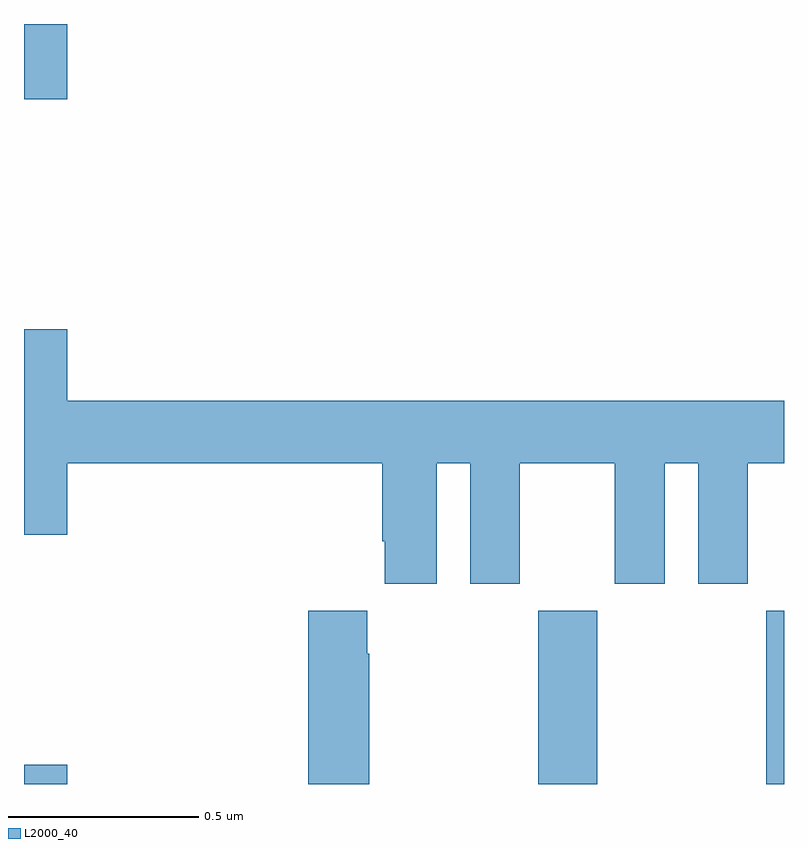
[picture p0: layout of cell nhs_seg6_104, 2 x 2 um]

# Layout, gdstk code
import gdstk
lib = gdstk.Library(unit=1e-6, precision=1e-09)
def R(c, l, rs):  # rectangles x0, y0, x1, y1
    for r in rs: c.add(gdstk.rectangle(r[:2], r[2:], *l))
def P(c, l, *ps):  # polygons
    for p in ps: c.add(gdstk.Polygon(p, *l))
L2000_40 = (2000, 40)

nhs_seg6_104 = lib.new_cell('nhs_seg6_104')
R(nhs_seg6_104, L2000_40, [(112,938.5,112.114,938.551), (113.353,938.5,113.508,938.956), (113.953,938.5,114,938.956), (112,940.302,112.114,940.5)])
P(nhs_seg6_104, L2000_40, [(113.086,939.344),(113.174,939.344),(113.174,939.027),(113.305,939.027),(113.305,939.344),(113.555,939.344),(113.555,939.027),(113.686,939.027),(113.686,939.344),(113.774,939.344),(113.774,939.027),(113.905,939.027),(113.905,939.344),(114,939.344),(114,939.508),(112.114,939.508),(112.114,939.697),(112,939.697),(112,939.156),(112.114,939.156),(112.114,939.344),(112.943,939.344),(112.943,939.139),(112.949,939.139),(112.949,939.027),(113.086,939.027)],
  [(112.908,938.843),(112.903,938.843),(112.903,938.956),(112.748,938.956),(112.748,938.5),(112.908,938.5)])

lib.write_gds('nhs_seg6_104.gds')
